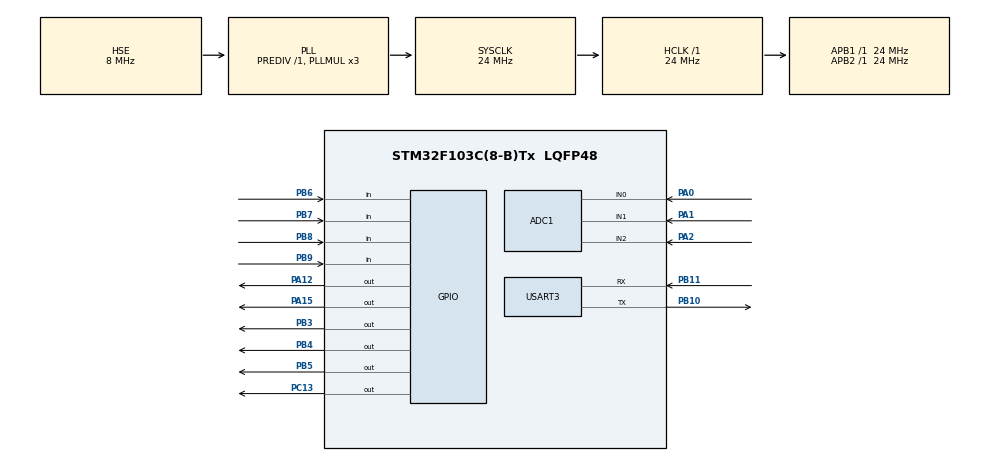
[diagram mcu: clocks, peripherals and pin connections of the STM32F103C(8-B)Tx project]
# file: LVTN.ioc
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ADC1.Channel-0\#ChannelRegularConversion=ADC_CHANNEL_0
ADC1.Channel-1\#ChannelRegularConversion=ADC_CHANNEL_1
ADC1.Channel-2\#ChannelRegularConversion=ADC_CHANNEL_2
ADC1.ContinuousConvMode=ENABLE
ADC1.NbrOfConversion=3
ADC1.NbrOfConversionFlag=1
ADC1.Rank-0\#ChannelRegularConversion=1
ADC1.Rank-1\#ChannelRegularConversion=2
ADC1.Rank-2\#ChannelRegularConversion=3
ADC1.SamplingTime-0\#ChannelRegularConversion=ADC_SAMPLETIME_239CYCLES_5
ADC1.SamplingTime-1\#ChannelRegularConversion=ADC_SAMPLETIME_239CYCLES_5
ADC1.SamplingTime-2\#ChannelRegularConversion=ADC_SAMPLETIME_239CYCLES_5
ADC1.master=1
Dma.ADC1.0.Direction=DMA_PERIPH_TO_MEMORY
Dma.ADC1.0.Instance=DMA1_Channel1
Dma.ADC1.0.MemDataAlignment=DMA_MDATAALIGN_HALFWORD
Dma.ADC1.0.MemInc=DMA_MINC_ENABLE
Dma.ADC1.0.Mode=DMA_CIRCULAR
Dma.ADC1.0.PeriphDataAlignment=DMA_PDATAALIGN_HALFWORD
Dma.ADC1.0.PeriphInc=DMA_PINC_DISABLE
Dma.ADC1.0.Priority=DMA_PRIORITY_LOW
Dma.Request0=ADC1
Mcu.Family=STM32F1
Mcu.Name=STM32F103C(8-B)Tx
Mcu.Package=LQFP48
NVIC.DMA1_Channel1_IRQn=true\:0\:0\:false\:false\:true\:false\:true\:true
NVIC.PriorityGroup=NVIC_PRIORITYGROUP_4
NVIC.TIM2_IRQn=true\:0\:0\:false\:false\:true\:true\:true\:true
NVIC.USART3_IRQn=true\:0\:0\:false\:false\:true\:true\:true\:true
PA0-WKUP.Signal=ADCx_IN0
PA1.Signal=ADCx_IN1
PA12.Signal=GPIO_Output
PA13.Mode=Serial_Wire
PA13.Signal=SYS_JTMS-SWDIO
PA14.Mode=Serial_Wire
PA14.Signal=SYS_JTCK-SWCLK
PA15.Signal=GPIO_Output
PA2.Signal=ADCx_IN2
PB10.Mode=Asynchronous
PB10.Signal=USART3_TX
PB11.Mode=Asynchronous
PB11.Signal=USART3_RX
PB3.Signal=GPIO_Output
PB4.Signal=GPIO_Output
PB5.Signal=GPIO_Output
PB6.GPIO_PuPd=GPIO_PULLUP
PB6.Signal=GPIO_Input
PB7.GPIO_PuPd=GPIO_PULLUP
PB7.Signal=GPIO_Input
PB8.GPIO_PuPd=GPIO_PULLUP
PB8.Signal=GPIO_Input
PB9.GPIO_PuPd=GPIO_PULLUP
PB9.Signal=GPIO_Input
PC13-TAMPER-RTC.Signal=GPIO_Output
PD0-OSC_IN.Mode=HSE-External-Oscillator
PD0-OSC_IN.Signal=RCC_OSC_IN
PD1-OSC_OUT.Mode=HSE-External-Oscillator
PD1-OSC_OUT.Signal=RCC_OSC_OUT
ProjectManager.HeapSize=0x200
ProjectManager.StackSize=0x400
ProjectManager.TargetToolchain=MDK-ARM V5
RCC.AHBFreq_Value=24000000
RCC.APB1Freq_Value=24000000
RCC.APB1TimFreq_Value=24000000
RCC.APB2Freq_Value=24000000
RCC.APB2TimFreq_Value=24000000
RCC.HCLKFreq_Value=24000000
RCC.PLLMUL=RCC_PLL_MUL3
RCC.PLLSourceVirtual=RCC_PLLSOURCE_HSE
RCC.SYSCLKFreq_VALUE=24000000
RCC.SYSCLKSource=RCC_SYSCLKSOURCE_PLLCLK
RCC.USBFreq_Value=24000000
SH.ADCx_IN0.0=ADC1_IN0,IN0
SH.ADCx_IN1.0=ADC1_IN1,IN1
SH.ADCx_IN2.0=ADC1_IN2,IN2
TIM2.AutoReloadPreload=TIM_AUTORELOAD_PRELOAD_DISABLE
TIM2.Period=120
TIM2.Prescaler=7
USART3.VirtualMode=VM_ASYNC
VP_TIM2_VS_ClockSourceINT.Mode=Internal
board=custom

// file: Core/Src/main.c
/* USER CODE BEGIN Header */
/**
  ******************************************************************************
  * @file           : main.c
  * @brief          : Main program body
  ******************************************************************************
  * @attention
  *
  * Copyright (c) 2022 STMicroelectronics.
  * All rights reserved.
  *
  * This software is licensed under terms that can be found in the LICENSE file
  * in the root directory of this software component.
  * If no LICENSE file comes with this software, it is provided AS-IS.
  *
  ******************************************************************************
  */
/* USER CODE END Header */
#include "main.h"
#include "adc.h"
#include "dma.h"
#include "tim.h"
#include "usart.h"
#include "gpio.h"

/* USER CODE BEGIN Includes */
#include "lcd_16x2.h"
#include "KEYPAD.h"
#include "stdio.h"
char Key;
/* USER CODE END Includes */

/* USER CODE BEGIN PV */
char Rx_data[10];
char Tx_data[20];

KEYPAD_Name KeyPad;
char KEYMAP[NUMROWS][NUMCOLS] = {
{'1','2','3','A'},
{'4','5','6','B'},
{'7','8','9','C'},
{'X','0','E','D'}
};
char keyStatus = 0;    // Status = 0 --> write code || Status = 1 --> write password || Status = 2 --> write done
char loginStatus = 0;  // Status = 0 --> not login yet || Status = 1 --> send code-password || Status = 2 --> logged in || Status = 3 --> logged out
char state = 0;
char code[20];
char password[20];

volatile uint16_t ADC_val[3];
float Vmax, Imax, Temp;
uint8_t Vrms, Irms;
int32_t timeV, timeI;
int8_t cosphi;
uint16_t count20ms;
uint16_t count;
int8_t 	cosin[]={	100, 100, 100, 100, 100, 100, 99,	99,	99,	99,	98,	98,	98,	97,	97,	97,	96,	96,	95,	95,	94,	93,	93,	92,	91,	91,	90,	89,	88,	87,	87,	86,	85,	84,	83,	82,	81,	80,	79,	78,	77,	75,	74,	73,	72,
									71,	69,	68,	67,	66, 64,	63,	62,	60,	59,	57,	56,	54,	53,	52,	50,	48,	47,	45,	44,	42,	41,	39,	37,	36,	34,	33,	31,	29,	28,	26,	24,	23,	21,	19, 17, 16, 14, 12, 10, 9, 7, 5, 3, 2,
									0, -2, -3, -5, -7, -9, -10, -12, -14, -16, -17, -19, -21, -23, -24, -26, -28, -29, -31, -33, -34, -36, -37, -39, -41, -42, -44, -45, -47, -48, -50,	-52, -53,	-54, -56,	-57, -59,	-60, -62,	-63, -64, -66, -67, -68, -69,
									-71, -72, -73, -74, -75, -77, -78, -79, -80, -81, -82, -83, -84, -85, -86, -87, -87, -88, -89, -90, -91, -91, -92, -93, -93, -94, -95, -95, -96, -96, -97, -97, -97, -98, -98, -98, -99, -99, -99, -99, -100, -100, -100, -100, -100,
									-100, -100, -100, -100, -100, -100, -99, -99, -99, -99, -98, -98, -98, -97, -97, -97, -96, -96, -95, -95, -94, -93, -93, -92, -91, -91, -90, -89, -88, -87, -87, -86, -85, -84, -83, -82, -81, -80, -79, -78, -77, -75, -74, -73, -72,
									-71, -69, -68, -67, -66, -64, -63, -62, -60, -59, -57, -56, -54, -53, -52, -50, -48, -47, -45, -44, -42, -41, -39, -37, -36, -34, -33, -31, -29, -28, -26, -24, -23, -21, -19, -17, -16, -14, -12, -10, -9, -7, -5, -3, -2,
									0, 2, 3, 5, 7, 9, 10, 12, 14, 16, 17, 19, 21, 23, 24, 26, 28, 29, 31, 33, 34, 36, 37, 39, 41, 42, 44, 45, 47, 48, 50, 52, 53, 54, 56, 57, 59, 60, 62, 63, 64, 66, 67, 68, 69,
									71, 72, 73, 74, 75, 77, 78, 79, 80, 81, 82, 83, 84, 85, 86, 87, 87, 88, 89, 90, 91, 91, 92, 93, 93, 94, 95, 95, 96, 96, 97, 97, 97, 98, 98 ,98, 99, 99, 99, 99, 100, 100, 100, 100, 100};
/* USER CODE END PV */

void SystemClock_Config(void);

/* USER CODE BEGIN 0 */
/*--------------------------------------------------------- Calculator cos phi ---------------------------------------------------------*/
void Calcosphi(){
	float dem =(timeI - timeV)*0.72;
	if(dem<0){
		dem = dem - (2*dem);
	}
	if(dem>359) {dem = 359;}
	cosphi = cosin[(int)dem];
}
/*--------------------------------------------------------- Print to LCD ---------------------------------------------------------*/
void Lcd_test(){
	Lcd_clear_display();
	Lcd_gotoxy(0,0);
	Lcd_write_string("T=");
	Lcd_write_int((int)Temp);
	Lcd_write_string("doC");

	Lcd_gotoxy(9,0);
	Lcd_write_string("PF=");
	if(cosphi == 100) Lcd_write_string("1.0");
	else if(cosphi==-100) Lcd_write_string("-1.0");
	else if(cosphi>=0){
		Lcd_write_string("0.");
		Lcd_write_int(cosphi);
	}
	else if(cosphi<0){
		Lcd_write_string("-0.");
		int8_t td = cosphi - (2*cosphi);
		Lcd_write_int(td);
	}

	Lcd_gotoxy(0,1);
	Lcd_write_string("V=");
	Lcd_write_int(Vrms);
	Lcd_write_string("V");

	Lcd_gotoxy(8,1);
	Lcd_write_string("I=");
	Lcd_write_int(Irms);
	Lcd_write_string("A");
}
/*--------------------------------------------------------- Read KeyPad ---------------------------------------------------------*/
void readKeypad() {
	Key = KEYPAD4X4_Readkey(&KeyPad);
	if (Key) {
		if ((Key == 'X')&&(keyStatus == 0)) {
			code[strlen(code)-1] = '\0';
		}
		else if ((Key == 'X')&&(keyStatus == 1)) {
			password[strlen(password)-1] = '\0';
		}
		else if ((Key == 'E')&&(keyStatus == 0)) {
			keyStatus = 1;
		}
		else if ((Key == 'E')&&(keyStatus == 1)) {
			keyStatus = 2;
		}
		else if (keyStatus == 0) {
			code[strlen(code)] = Key;
		}
		else if (keyStatus == 1) {
			password[strlen(password)] = Key;
		}
		if(strlen(code) != 0){
			Lcd_clear_display();
			Lcd_gotoxy(0,0);
			Lcd_write_string(code);
			Lcd_gotoxy(0,1);
			Lcd_write_string(password);
		}
	}

	HAL_Delay(30);
}
/* USER CODE END 0 */

int main(void)
{

  /* MCU Configuration--------------------------------------------------------*/

  /* Reset of all peripherals, Initializes the Flash interface and the Systick. */
  HAL_Init();

  /* USER CODE BEGIN Init */
	Lcd_Init();
  /* USER CODE END Init */

  /* Configure the system clock */
  SystemClock_Config();

  /* Initialize all configured peripherals */
  MX_GPIO_Init();
  MX_DMA_Init();
  MX_ADC1_Init();
  MX_TIM2_Init();
  MX_USART3_UART_Init();
  /* USER CODE BEGIN 2 */
	HAL_ADC_Start_DMA(&hadc1, (uint32_t *)ADC_val, 3);
	HAL_UART_Receive_IT(&huart3, (uint8_t*)Rx_data, 1);
	KEYPAD4X4_Init(&KeyPad, KEYMAP, GPIOB, GPIO_PIN_5, GPIOB, GPIO_PIN_4, GPIOB, GPIO_PIN_3, GPIOA, GPIO_PIN_15, GPIOB, GPIO_PIN_9, GPIOB, GPIO_PIN_8, GPIOB, GPIO_PIN_7, GPIOB, GPIO_PIN_6);

	Lcd_clear_display();
	Lcd_gotoxy(0,0);
	Lcd_write_string("Nhap code");
	Lcd_gotoxy(0,1);
	Lcd_write_string("& password");
  /* USER CODE END 2 */

  /* Infinite loop */
  /* USER CODE BEGIN WHILE */
  while (1)
  {
		if(keyStatus != 2) {
			readKeypad();
		}
		if((keyStatus == 2)&&(loginStatus == 0)) {
			strcpy(Tx_data, code);
			Tx_data[strlen(Tx_data)] = '&';
			strcat(Tx_data, password);
			HAL_UART_Transmit(&huart3, (uint8_t*)Tx_data, strlen(Tx_data), 200);
			loginStatus = 1; //--------------------------
		}
		if(loginStatus ==2) {
			if(state == 1) {
				Vrms = (((Vmax*3.3/4095)+1.2)*5.6+1.1)*12.9636;
	//			Irms = Imax*37.9886; //Imax*3.3/4095/6*10/5*200/can(2) (mA)
				Irms = ((Imax*3.3/4095)-1.6)*64.5; //100A --> 0.05 * 22 + 1.65 = Imax.3.3/4095 (mA)
				Calcosphi();
				Temp = ((ADC_val[2]*113/4095)-2)/0.387; //Vo=(Rt*3.3*10)/2*(570)			V=(ADC_val*3.3)/4095		Rt=T*0.387
				Vmax = 0;
				Imax = 0;
				timeI = 0;
				timeV = 0;

				char buffTemp[10];
				sprintf(buffTemp, "%0.1f", Temp);
				char buffVol[10];
				sprintf(buffVol, "&%d", Vrms);
				char buffCur[10];
				sprintf(buffCur, "&%d", Irms);
				char buffPf[10];
				sprintf(buffPf, "&%d", cosphi);

				char Tx[40];
				strcpy(Tx, buffTemp);
				strcat(Tx, buffVol);
				strcat(Tx, buffCur);
				strcat(Tx, buffPf);
				HAL_UART_Transmit(&huart3, (uint8_t*)Tx, strlen(Tx), 200);

				Lcd_test();
				HAL_GPIO_TogglePin(GPIOC, GPIO_PIN_13);
				HAL_Delay(1000);
				state = 0;
			}
			else if(state ==0){
				count20ms = 0;
				__HAL_TIM_SET_COUNTER(&htim2, 0);
					HAL_TIM_Base_Start_IT(&htim2);
				state = 2;
			}
		}
	}
    /* USER CODE END WHILE */

}

void SystemClock_Config(void)
{
  RCC_OscInitTypeDef RCC_OscInitStruct = {0};
  RCC_ClkInitTypeDef RCC_ClkInitStruct = {0};
  RCC_PeriphCLKInitTypeDef PeriphClkInit = {0};

  /** Initializes the RCC Oscillators according to the specified parameters
  * in the RCC_OscInitTypeDef structure.
  */
  RCC_OscInitStruct.OscillatorType = RCC_OSCILLATORTYPE_HSE;
  RCC_OscInitStruct.HSEState = RCC_HSE_ON;
  RCC_OscInitStruct.HSEPredivValue = RCC_HSE_PREDIV_DIV1;
  RCC_OscInitStruct.HSIState = RCC_HSI_ON;
  RCC_OscInitStruct.PLL.PLLState = RCC_PLL_ON;
  RCC_OscInitStruct.PLL.PLLSource = RCC_PLLSOURCE_HSE;
  RCC_OscInitStruct.PLL.PLLMUL = RCC_PLL_MUL3;
  if (HAL_RCC_OscConfig(&RCC_OscInitStruct) != HAL_OK)
  {
    Error_Handler();
  }

  /** Initializes the CPU, AHB and APB buses clocks
  */
  RCC_ClkInitStruct.ClockType = RCC_CLOCKTYPE_HCLK|RCC_CLOCKTYPE_SYSCLK
                              |RCC_CLOCKTYPE_PCLK1|RCC_CLOCKTYPE_PCLK2;
  RCC_ClkInitStruct.SYSCLKSource = RCC_SYSCLKSOURCE_PLLCLK;
  RCC_ClkInitStruct.AHBCLKDivider = RCC_SYSCLK_DIV1;
  RCC_ClkInitStruct.APB1CLKDivider = RCC_HCLK_DIV1;
  RCC_ClkInitStruct.APB2CLKDivider = RCC_HCLK_DIV1;

  if (HAL_RCC_ClockConfig(&RCC_ClkInitStruct, FLASH_LATENCY_0) != HAL_OK)
  {
    Error_Handler();
  }
  PeriphClkInit.PeriphClockSelection = RCC_PERIPHCLK_ADC;
  PeriphClkInit.AdcClockSelection = RCC_ADCPCLK2_DIV2;
  if (HAL_RCCEx_PeriphCLKConfig(&PeriphClkInit) != HAL_OK)
  {
    Error_Handler();
  }
}

/* USER CODE BEGIN 4 */
void HAL_TIM_PeriodElapsedCallback(TIM_HandleTypeDef *htim) {
	if(htim->Instance == TIM2){
/*---------------------------------------------------------  Timer 20us ---------------------------------------------------------*/
		count20ms++;
		if(Vmax <= ADC_val[0]){
			Vmax = ADC_val[0];
			timeV = count20ms;
		}
		if(Imax <= ADC_val[1]){
			Imax = ADC_val[1];
			timeI = count20ms;
		}
		if(count20ms > 499){
			state = 1;
		}
		else {
			__HAL_TIM_SET_COUNTER(&htim2, 0);
			HAL_TIM_Base_Start_IT(&htim2);
		}
	}
}

void HAL_UART_RxCpltCallback(UART_HandleTypeDef *huart)
{
 if(huart->Instance == huart3.Instance)
 {
	 if((Rx_data[0] == 76)&&(loginStatus == 1)){
		 loginStatus = 2;
	 }
	 if((Rx_data[0] == 79)&&(loginStatus == 2)){
		 loginStatus = 3;
	 }
	 Rx_data[strlen(Rx_data)-1] = '\0';
   HAL_UART_Receive_IT(&huart3, (uint8_t*)Rx_data, 1);
 }
}
/* USER CODE END 4 */

void Error_Handler(void)
{
  __disable_irq();
  while (1)
  {
  }
}
